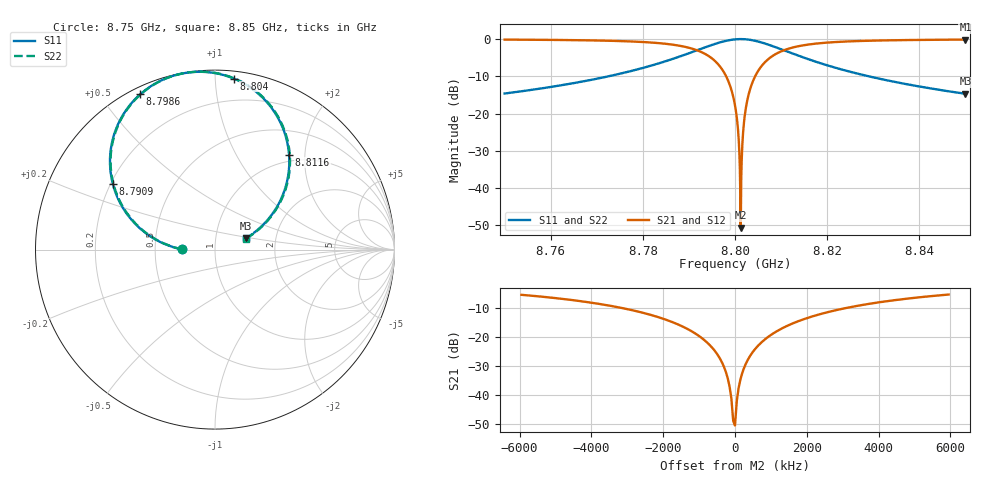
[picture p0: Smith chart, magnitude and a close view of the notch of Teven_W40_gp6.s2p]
! Sonnet Data File
! From: emgraph Version : 16.52
! From Project: transmon_trial
! Data is De-embedded
! Data File Written: 10/20/2017 15:56:55
!< HDATE 10/20/2017 14:38:19
!< MDATE 10/20/2017 14:38:19
!< PARAMS
!< Lj = 15.24
!< Gap = 6.0
!< Width = 40.0
!< Airgap = 24.0
!< Pwidth = 2000.0
!< END PARAMS
# GHZ S MA R 51.00000
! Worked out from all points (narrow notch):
!   2001 points, 8.75 GHz to 8.85 GHz, reference 51 ohm
!   highest |S21| = -0.15 dB at 8.85 GHz (marker M1); lowest = -50.6 dB at 8.8012 GHz (marker M2)
!   notch at M2: 50.0 dB deep, 995 kHz wide at half that depth
!   lowest |S11| = -14.7 dB at 8.85 GHz (marker M3), VSWR 1.45, Z = 71.6 + j9.44 ohm
!   |S11| at or under -10 dB: start of sweep to 8.772524 GHz; 8.82902 GHz to end of sweep
!   |S22| runs from -14.7 to 0.0 dB; largest |S21 - S12| = 0
!   S11 on the Smith chart (normalised r, x): 8.75 GHz: 0.69, +0.00; 8.7909 GHz: 0.21, +0.28; 8.7986 GHz: 0.03, +0.63; 8.804 GHz: 0.05, +1.11; 8.8116 GHz: 0.88, +1.69; 8.85 GHz: 1.40, +0.19
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8.75  0.1859 179.5  0.9825 -90.6  0.9825 -90.6  0.1859 179.3
!< P1 F=8.75 Eeff=(6.44260211 -3.0756e-5) Z0=(50.4785887 1.09314e-4) R=0.0 C=0.0
!< P2 F=8.75 Eeff=(6.44260211 -3.0756e-5) Z0=(50.4785887 1.09314e-4) R=0.0 C=0.0
8.7667  0.2679 174.6  0.9633 -95.5  0.9633 -95.5  0.2679 174.3
8.78335  0.4695 161.9  0.8825 -108.2  0.8825 -108.2  0.4695 161.6
8.7909  0.6753 147.4  0.7364 -122.7  0.7364 -122.7  0.6753 147.0
8.7956  0.8579 130.7  0.5112 -139.4  0.5112 -139.4  0.8579 130.3
8.79855  0.9603 115.7  0.2728 -154.1  0.2728 -154.1  0.9603 115.3
8.79935  0.9789 111.2  0.1951 -158.5  0.1951 -158.5  0.9789 110.7
8.8  0.9898 107.3  0.1291 -162.1  0.1291 -162.1  0.9898 106.9
8.8005  0.9952 104.3  0.07698 -164.5  0.07698 -164.5  0.9952 103.9
8.8009  0.9975 101.9  0.03484 -165.2  0.03484 -165.2  0.9975 101.5
8.80125  0.9981 99.8  0.002958 -29.8  0.002958 -29.8  0.9981 99.3
8.8016  0.9974 97.6  0.03941 4.7  0.03941 4.7  0.9973 97.2
8.80195  0.9952 95.5  0.07633 3.9  0.07633 3.9  0.9952 95.1
8.80235  0.9911 93.1  0.1182 2.0  0.1182 2.0  0.9911 92.7
8.803  0.9809 89.2  0.1848 -1.6  0.1848 -1.6  0.9809 88.8
8.80395  0.9589 83.7  0.2776 -6.8  0.2776 -6.8  0.9589 83.3
8.8069  0.8547 68.7  0.5165 -21.6  0.5165 -21.6  0.8547 68.3
8.81155  0.6712 52.1  0.7401 -38.3  0.7401 -38.3  0.6712 51.6
8.8167  0.5162 40.9  0.8559 -49.4  0.8559 -49.4  0.5162 40.4
8.82365  0.3828 32.3  0.9235 -58.0  0.9235 -58.0  0.3828 31.8
8.83335  0.2765 25.7  0.9609 -64.6  0.9609 -64.6  0.2765 25.2
8.85  0.1844 20.2  0.9828 -70.1  0.9828 -70.1  0.1844 19.6
